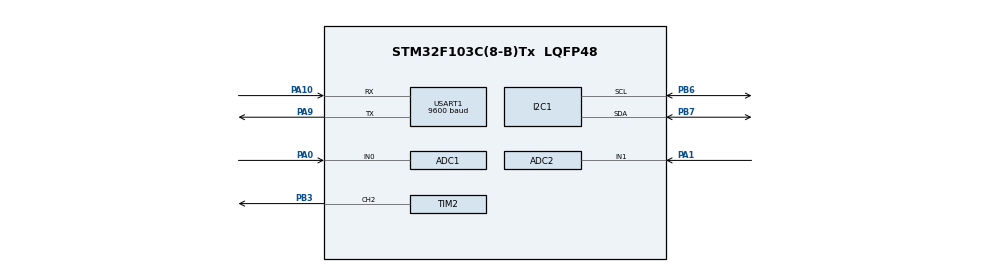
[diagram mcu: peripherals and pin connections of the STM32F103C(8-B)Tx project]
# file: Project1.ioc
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ADC1.Channel-0\#ChannelRegularConversion=ADC_CHANNEL_0
ADC1.ContinuousConvMode=ENABLE
ADC1.NbrOfConversionFlag=1
ADC1.Rank-0\#ChannelRegularConversion=1
ADC1.SamplingTime-0\#ChannelRegularConversion=ADC_SAMPLETIME_1CYCLE_5
ADC1.master=1
ADC2.Channel-0\#ChannelRegularConversion=ADC_CHANNEL_1
ADC2.ContinuousConvMode=ENABLE
ADC2.NbrOfConversionFlag=1
ADC2.Rank-0\#ChannelRegularConversion=1
ADC2.SamplingTime-0\#ChannelRegularConversion=ADC_SAMPLETIME_1CYCLE_5
Mcu.Family=STM32F1
Mcu.Name=STM32F103C(8-B)Tx
Mcu.Package=LQFP48
NVIC.PriorityGroup=NVIC_PRIORITYGROUP_4
PA0-WKUP.Signal=ADCx_IN0
PA1.Signal=ADCx_IN1
PA10.Mode=Asynchronous
PA10.Signal=USART1_RX
PA13.Mode=Serial_Wire
PA13.Signal=SYS_JTMS-SWDIO
PA14.Mode=Serial_Wire
PA14.Signal=SYS_JTCK-SWCLK
PA9.Mode=Asynchronous
PA9.Signal=USART1_TX
PB3.Signal=S_TIM2_CH2
PB6.Mode=I2C
PB6.Signal=I2C1_SCL
PB7.Mode=I2C
PB7.Signal=I2C1_SDA
ProjectManager.HeapSize=0x200
ProjectManager.StackSize=0x400
ProjectManager.TargetToolchain=STM32CubeIDE
RCC.APB1Freq_Value=8000000
RCC.APB2Freq_Value=8000000
SH.ADCx_IN0.0=ADC1_IN0,IN0
SH.ADCx_IN1.0=ADC2_IN1,IN1
SH.S_TIM2_CH2.0=TIM2_CH2,PWM Generation2 CH2
TIM2.Channel-PWM\ Generation2\ CH2=TIM_CHANNEL_2
TIM2.Period=625
TIM2.Prescaler=127
USART1.BaudRate=9600
USART1.VirtualMode=VM_ASYNC
VP_TIM2_VS_ClockSourceINT.Mode=Internal
board=custom

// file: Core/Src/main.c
/* USER CODE BEGIN Header */
/**
  ******************************************************************************
  * @file           : main.c
  * @brief          : Main program body
  ******************************************************************************
  * @attention
  *
  * Copyright (c) 2024 STMicroelectronics.
  * All rights reserved.
  *
  * This software is licensed under terms that can be found in the LICENSE file
  * in the root directory of this software component.
  * If no LICENSE file comes with this software, it is provided AS-IS.
  *
  ******************************************************************************
  */
/* USER CODE END Header */
#include "main.h"

/* USER CODE BEGIN Includes */
#include "lcd_i2c.h"
/* USER CODE END Includes */

ADC_HandleTypeDef hadc1;
ADC_HandleTypeDef hadc2;

I2C_HandleTypeDef hi2c1;

TIM_HandleTypeDef htim2;

UART_HandleTypeDef huart1;

/* USER CODE BEGIN PV */
LCD_I2C_HandleTypeDef h_lcd;
/* USER CODE END PV */

void SystemClock_Config(void);
static void MX_GPIO_Init(void);
static void MX_I2C1_Init(void);
static void MX_ADC1_Init(void);
static void MX_ADC2_Init(void);
static void MX_TIM2_Init(void);
static void MX_USART1_UART_Init(void);

/* USER CODE BEGIN 0 */
char data_1[] = " good\n";
char data_2[] = " need water\n";
char Rx_data[1];
int sensor_1, sensor_2, percent_1, percent_2;
char string_1[20], string_2[20];
enum state {
	AUTOMATIC,
	LOW,
	MEDIUM,
	HIGH,
	OFF,
	DATA,
};
enum state state;
void HAL_UART_RxCpltCallback(UART_HandleTypeDef *huart){
	if(huart->Instance==huart1.Instance){
		if(Rx_data[0]=='a') state = AUTOMATIC;
		if(Rx_data[0]=='1') state = LOW;
		if(Rx_data[0]=='2') state = MEDIUM;
		if(Rx_data[0]=='3') state = HIGH;
		if(Rx_data[0]=='0') state = OFF;
		if(Rx_data[0]=='d') state = DATA;
		HAL_UART_Transmit(&huart1, (uint8_t*)Rx_data, 1, 100);
		HAL_UART_Receive_IT(&huart1, (uint8_t*)Rx_data, 1);
	}
}
/* USER CODE END 0 */

int main(void)
{

  /* MCU Configuration--------------------------------------------------------*/

  /* Reset of all peripherals, Initializes the Flash interface and the Systick. */
  HAL_Init();

  /* Configure the system clock */
  SystemClock_Config();

  /* Initialize all configured peripherals */
  MX_GPIO_Init();
  MX_I2C1_Init();
  MX_ADC1_Init();
  MX_ADC2_Init();
  MX_TIM2_Init();
  MX_USART1_UART_Init();
  /* USER CODE BEGIN 2 */
uint32_t timer = HAL_GetTick();
HAL_ADC_Start(&hadc1);
HAL_ADC_Start(&hadc2);
lcd_i2c_init(&h_lcd, &hi2c1, 16, 2, 0x27<<1);
HAL_TIM_PWM_Start_IT(&htim2, TIM_CHANNEL_2);
HAL_UART_Receive_IT(&huart1,&Rx_data,1);
  /* USER CODE END 2 */

  /* Infinite loop */
  while (1)
  {

    /* USER CODE BEGIN 3 */
/*Xử lí số liệu của cảm biến*/
	  sensor_1 = (float)HAL_ADC_GetValue(&hadc1);
	  sensor_2 = (float)HAL_ADC_GetValue(&hadc2);
	  percent_1 = (sensor_1-1900)*100/(3100-1900);
	  percent_2 = (sensor_2-1900)*100/(3100-1900);
	  sprintf(string_1, "Sensor_1:%d",percent_1);
	  sprintf(string_2, "Sensor_2:%d",percent_2);

/*Hiển thị lên lcd*/
	  lcd_set_cursor(&h_lcd, 0, 0);
	  lcd_send_string(&h_lcd, string_1);
	  lcd_set_cursor(&h_lcd, 0, 1);
	  lcd_send_string(&h_lcd, string_2);
	  if(timer - HAL_GetTick() >= 500){
	  lcd_clear(&h_lcd);
	  timer = HAL_GetTick();
	  }
/*Các trạng thái của máy bơm*/
switch (state){
case DATA:
/*Hiển thị dữ liệu lên uart*/
	if(timer - HAL_GetTick() >= 500)
	{
	HAL_UART_Transmit(&huart1, (uint8_t *)string_1, sizeof(string_1), 100);
	if(percent_1 >= 85)
	{
	HAL_UART_Transmit(&huart1, (uint8_t *)data_1, sizeof(data_1), 100);
	}
	else if (percent_1 < 85)
	{
	HAL_UART_Transmit(&huart1, (uint8_t *)data_2, sizeof(data_2), 100);
	}
	HAL_UART_Transmit(&huart1, (uint8_t *)string_2, sizeof(string_2), 100);
	if(percent_2 >= 85)
	{
	HAL_UART_Transmit(&huart1, (uint8_t *)data_1, sizeof(data_1), 100);
	}
	else if (percent_2 < 85)
	{
	HAL_UART_Transmit(&huart1, (uint8_t *)data_2, sizeof(data_2), 100);
	}
	timer = HAL_GetTick();
	}
case AUTOMATIC:
/*Bơm tự động*/
	if(percent_1 < percent_2 && percent_2 < 85)
	{
	__HAL_TIM_SET_COMPARE(&htim2,TIM_CHANNEL_2, 400);
	}
	if(percent_1 > percent_2 && percent_1 < 85)
	{
	__HAL_TIM_SET_COMPARE(&htim2,TIM_CHANNEL_2, 625);
	}
	if(percent_1 >= 85 && percent_2 >= 85)
	{
	__HAL_TIM_SET_COMPARE(&htim2,TIM_CHANNEL_2, 0);
	}
case LOW:
	__HAL_TIM_SET_COMPARE(&htim2,TIM_CHANNEL_2, 100);
	break;
case MEDIUM:
	__HAL_TIM_SET_COMPARE(&htim2,TIM_CHANNEL_2, 400);
	break;
case HIGH:
	__HAL_TIM_SET_COMPARE(&htim2,TIM_CHANNEL_2, 625);
	break;
case OFF:
	__HAL_TIM_SET_COMPARE(&htim2,TIM_CHANNEL_2, 0);
	break;
default:
	break;
}
  }
  /* USER CODE END 3 */
}

void SystemClock_Config(void)
{
  RCC_OscInitTypeDef RCC_OscInitStruct = {0};
  RCC_ClkInitTypeDef RCC_ClkInitStruct = {0};
  RCC_PeriphCLKInitTypeDef PeriphClkInit = {0};

  /** Initializes the RCC Oscillators according to the specified parameters
  * in the RCC_OscInitTypeDef structure.
  */
  RCC_OscInitStruct.OscillatorType = RCC_OSCILLATORTYPE_HSI;
  RCC_OscInitStruct.HSIState = RCC_HSI_ON;
  RCC_OscInitStruct.HSICalibrationValue = RCC_HSICALIBRATION_DEFAULT;
  RCC_OscInitStruct.PLL.PLLState = RCC_PLL_NONE;
  if (HAL_RCC_OscConfig(&RCC_OscInitStruct) != HAL_OK)
  {
    Error_Handler();
  }

  /** Initializes the CPU, AHB and APB buses clocks
  */
  RCC_ClkInitStruct.ClockType = RCC_CLOCKTYPE_HCLK|RCC_CLOCKTYPE_SYSCLK
                              |RCC_CLOCKTYPE_PCLK1|RCC_CLOCKTYPE_PCLK2;
  RCC_ClkInitStruct.SYSCLKSource = RCC_SYSCLKSOURCE_HSI;
  RCC_ClkInitStruct.AHBCLKDivider = RCC_SYSCLK_DIV1;
  RCC_ClkInitStruct.APB1CLKDivider = RCC_HCLK_DIV1;
  RCC_ClkInitStruct.APB2CLKDivider = RCC_HCLK_DIV1;

  if (HAL_RCC_ClockConfig(&RCC_ClkInitStruct, FLASH_LATENCY_0) != HAL_OK)
  {
    Error_Handler();
  }
  PeriphClkInit.PeriphClockSelection = RCC_PERIPHCLK_ADC;
  PeriphClkInit.AdcClockSelection = RCC_ADCPCLK2_DIV2;
  if (HAL_RCCEx_PeriphCLKConfig(&PeriphClkInit) != HAL_OK)
  {
    Error_Handler();
  }
}

static void MX_ADC1_Init(void)
{

  ADC_ChannelConfTypeDef sConfig = {0};

  /** Common config
  */
  hadc1.Instance = ADC1;
  hadc1.Init.ScanConvMode = ADC_SCAN_DISABLE;
  hadc1.Init.ContinuousConvMode = ENABLE;
  hadc1.Init.DiscontinuousConvMode = DISABLE;
  hadc1.Init.ExternalTrigConv = ADC_SOFTWARE_START;
  hadc1.Init.DataAlign = ADC_DATAALIGN_RIGHT;
  hadc1.Init.NbrOfConversion = 1;
  if (HAL_ADC_Init(&hadc1) != HAL_OK)
  {
    Error_Handler();
  }

  /** Configure Regular Channel
  */
  sConfig.Channel = ADC_CHANNEL_0;
  sConfig.Rank = ADC_REGULAR_RANK_1;
  sConfig.SamplingTime = ADC_SAMPLETIME_1CYCLE_5;
  if (HAL_ADC_ConfigChannel(&hadc1, &sConfig) != HAL_OK)
  {
    Error_Handler();
  }

}

static void MX_ADC2_Init(void)
{

  ADC_ChannelConfTypeDef sConfig = {0};

  /** Common config
  */
  hadc2.Instance = ADC2;
  hadc2.Init.ScanConvMode = ADC_SCAN_DISABLE;
  hadc2.Init.ContinuousConvMode = ENABLE;
  hadc2.Init.DiscontinuousConvMode = DISABLE;
  hadc2.Init.ExternalTrigConv = ADC_SOFTWARE_START;
  hadc2.Init.DataAlign = ADC_DATAALIGN_RIGHT;
  hadc2.Init.NbrOfConversion = 1;
  if (HAL_ADC_Init(&hadc2) != HAL_OK)
  {
    Error_Handler();
  }

  /** Configure Regular Channel
  */
  sConfig.Channel = ADC_CHANNEL_1;
  sConfig.Rank = ADC_REGULAR_RANK_1;
  sConfig.SamplingTime = ADC_SAMPLETIME_1CYCLE_5;
  if (HAL_ADC_ConfigChannel(&hadc2, &sConfig) != HAL_OK)
  {
    Error_Handler();
  }

}

static void MX_I2C1_Init(void)
{

  hi2c1.Instance = I2C1;
  hi2c1.Init.ClockSpeed = 100000;
  hi2c1.Init.DutyCycle = I2C_DUTYCYCLE_2;
  hi2c1.Init.OwnAddress1 = 0;
  hi2c1.Init.AddressingMode = I2C_ADDRESSINGMODE_7BIT;
  hi2c1.Init.DualAddressMode = I2C_DUALADDRESS_DISABLE;
  hi2c1.Init.OwnAddress2 = 0;
  hi2c1.Init.GeneralCallMode = I2C_GENERALCALL_DISABLE;
  hi2c1.Init.NoStretchMode = I2C_NOSTRETCH_DISABLE;
  if (HAL_I2C_Init(&hi2c1) != HAL_OK)
  {
    Error_Handler();
  }

}

static void MX_TIM2_Init(void)
{

  TIM_ClockConfigTypeDef sClockSourceConfig = {0};
  TIM_MasterConfigTypeDef sMasterConfig = {0};
  TIM_OC_InitTypeDef sConfigOC = {0};

  htim2.Instance = TIM2;
  htim2.Init.Prescaler = 127;
  htim2.Init.CounterMode = TIM_COUNTERMODE_UP;
  htim2.Init.Period = 625;
  htim2.Init.ClockDivision = TIM_CLOCKDIVISION_DIV1;
  htim2.Init.AutoReloadPreload = TIM_AUTORELOAD_PRELOAD_DISABLE;
  if (HAL_TIM_Base_Init(&htim2) != HAL_OK)
  {
    Error_Handler();
  }
  sClockSourceConfig.ClockSource = TIM_CLOCKSOURCE_INTERNAL;
  if (HAL_TIM_ConfigClockSource(&htim2, &sClockSourceConfig) != HAL_OK)
  {
    Error_Handler();
  }
  if (HAL_TIM_PWM_Init(&htim2) != HAL_OK)
  {
    Error_Handler();
  }
  sMasterConfig.MasterOutputTrigger = TIM_TRGO_RESET;
  sMasterConfig.MasterSlaveMode = TIM_MASTERSLAVEMODE_DISABLE;
  if (HAL_TIMEx_MasterConfigSynchronization(&htim2, &sMasterConfig) != HAL_OK)
  {
    Error_Handler();
  }
  sConfigOC.OCMode = TIM_OCMODE_PWM1;
  sConfigOC.Pulse = 0;
  sConfigOC.OCPolarity = TIM_OCPOLARITY_HIGH;
  sConfigOC.OCFastMode = TIM_OCFAST_DISABLE;
  if (HAL_TIM_PWM_ConfigChannel(&htim2, &sConfigOC, TIM_CHANNEL_2) != HAL_OK)
  {
    Error_Handler();
  }
  HAL_TIM_MspPostInit(&htim2);

}

static void MX_USART1_UART_Init(void)
{

  huart1.Instance = USART1;
  huart1.Init.BaudRate = 9600;
  huart1.Init.WordLength = UART_WORDLENGTH_8B;
  huart1.Init.StopBits = UART_STOPBITS_1;
  huart1.Init.Parity = UART_PARITY_NONE;
  huart1.Init.Mode = UART_MODE_TX_RX;
  huart1.Init.HwFlowCtl = UART_HWCONTROL_NONE;
  huart1.Init.OverSampling = UART_OVERSAMPLING_16;
  if (HAL_UART_Init(&huart1) != HAL_OK)
  {
    Error_Handler();
  }

}

static void MX_GPIO_Init(void)
{

  /* GPIO Ports Clock Enable */
  __HAL_RCC_GPIOA_CLK_ENABLE();
  __HAL_RCC_GPIOB_CLK_ENABLE();

}

void Error_Handler(void)
{
  __disable_irq();
  while (1)
  {
  }
}
